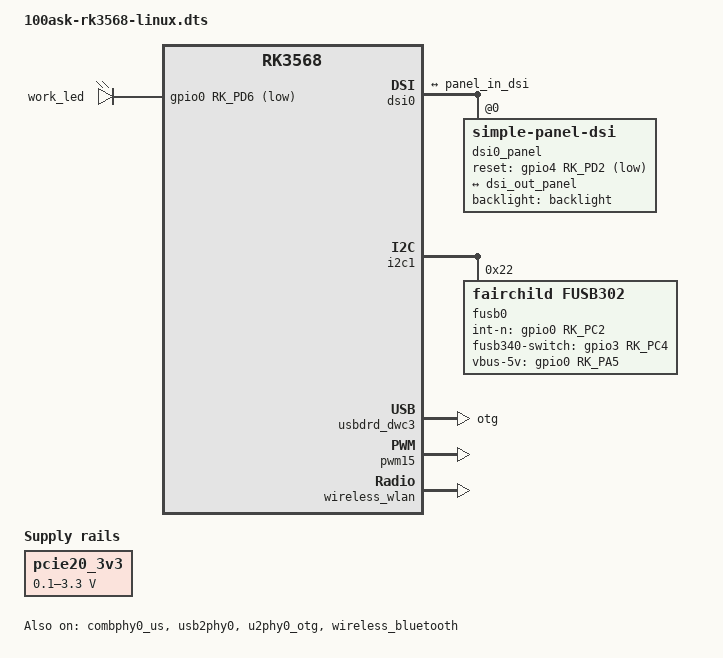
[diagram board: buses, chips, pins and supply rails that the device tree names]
// SPDX-License-Identifier: (GPL-2.0+ OR MIT)
/*
 * Copyright (c) 2020 Rockchip Electronics Co., Ltd.
 *
 */

#include "rk3568-evb1-ddr4-v10.dtsi"
#include "rk3568-linux.dtsi"
#include <dt-bindings/display/rockchip_vop.h>

/ {
	fiq-debugger {
                compatible = "rockchip,fiq-debugger";
                rockchip,serial-id = <2>;
                rockchip,wake-irq = <0>;
                /* If enable uart uses irq instead of fiq */
                rockchip,irq-mode-enable = <1>;
                rockchip,baudrate = <115200>;  /* Only 115200 and 1500000 */
                interrupts = <GIC_SPI 252 IRQ_TYPE_LEVEL_LOW>;
                pinctrl-names = "default";
                pinctrl-0 = <&uart2m0_xfer>;
                status = "okay";
        };

	pcie20_3v3: gpio-regulator {
                compatible = "regulator-gpio";
                regulator-name = "pcie20_3v3";
                regulator-min-microvolt = <100000>;
                regulator-max-microvolt = <3300000>;
                gpios = <&gpio3 RK_PC2 GPIO_ACTIVE_HIGH>;
                gpios-states = <0x1>;
                states = <100000 0x0 3300000 0x1>;
        };

	leds: leds {
                compatible = "gpio-leds";
                work_led: work {
                        gpios = <&gpio0 RK_PD6 GPIO_ACTIVE_LOW>;
                        linux,default-trigger = "heartbeat";
			status = "okay";
                };
        };
};

&pinctrl {
	fusb30x {
		fusb0_int: fusb0-int {
			rockchip,pins = <0 RK_PC2 RK_FUNC_GPIO &pcfg_pull_up>;
		};
	};
};

/*mipi*/
&dsi0 {
	status = "okay";
	rockchip,lane-rate = <480>;
	//rockchip,lane-rate = <660>;
	//rockchip,lane-rate = <1000>;

	dsi0_panel: panel@0 {
		compatible = "simple-panel-dsi";
		reg = <0>;
		backlight = <&backlight>;
		//power-supply = <&vcc18_lcd_n>;

		prepare-delay-ms = <10>;
		reset-delay-ms = <40>;
		init-delay-ms = <40>;
		enable-delay-ms = <40>;
		disable-delay-ms = <50>;
		unprepare-delay-ms = <40>;

        	reset-gpios = <&gpio4 RK_PD2 GPIO_ACTIVE_LOW>;
        	pinctrl-names = "default";
        	//pinctrl-0 = <&lcd_rst_gpio>;

		width-mm = <57>;
		height-mm = <97>;

		dsi,flags = <(MIPI_DSI_MODE_VIDEO | MIPI_DSI_MODE_VIDEO_BURST |
			      MIPI_DSI_MODE_VIDEO_SYNC_PULSE)>;

		dsi,format = <MIPI_DSI_FMT_RGB888>;
		dsi,lanes = <2>;

		panel-init-sequence = [
				39 00 06 FF FF 98 06 04 01
				15 00 02 08 10
				15 00 02 21 01
				15 00 02 30 02
				15 00 02 31 02
				15 00 02 60 07
				15 00 02 61 06
				15 00 02 62 06
				15 00 02 63 04
				15 00 02 40 14
				15 00 02 41 22
				15 00 02 42 02
				15 00 02 43 09
				15 00 02 44 86
				15 00 02 50 78
				15 00 02 51 78
				15 00 02 52 00
				15 00 02 53 3A
				15 00 02 A0 00
				15 00 02 A1 19
				15 00 02 A2 20
				15 00 02 A3 0E
				15 00 02 A4 06
				15 00 02 A5 09
				15 00 02 A6 06
				15 00 02 A7 05
				15 00 02 A8 07
				15 00 02 A9 0B
				15 00 02 AA 12
				15 00 02 AB 07
				15 00 02 AC 0E
				15 00 02 AD 15
				15 00 02 AE 0C
				15 00 02 AF 00
				15 00 02 C0 00
				15 00 02 C1 19
				15 00 02 C2 20
				15 00 02 C3 0E
				15 00 02 C4 06
				15 00 02 C5 09
				15 00 02 C6 06
				15 00 02 C7 04
				15 00 02 C8 07
				15 00 02 C9 0B
				15 00 02 CA 12
				15 00 02 CB 07
				15 00 02 CC 0E
				15 00 02 CD 15
				15 00 02 CE 0C
				15 00 02 CF 00
				39 00 06 FF FF 98 06 04 07
				15 0a 02 17 32
				15 0a 02 06 13
				15 0a 02 02 77
				15 0a 02 18 1D
				15 0a 02 E1 79
				39 00 06 FF FF 98 06 04 06
				15 00 02 00 20
				15 00 02 01 04
				15 00 02 02 00
				15 00 02 03 00
				15 00 02 04 01
				15 00 02 05 01
				15 00 02 06 88
				15 00 02 07 04
				15 00 02 08 01
				15 00 02 09 90
				15 00 02 0A 03
				15 00 02 0B 01
				15 00 02 0C 01
				15 00 02 0D 01
				15 00 02 0E 00
				15 00 02 0F 00
				15 00 02 10 55
				15 00 02 11 53
				15 00 02 12 01
				15 00 02 13 0D
				15 00 02 14 0D
				15 00 02 15 43
				15 00 02 16 0B
				15 00 02 17 00
				15 00 02 18 00
				15 00 02 19 00
				15 00 02 1A 00
				15 00 02 1B 00
				15 00 02 1C 00
				15 00 02 1D 00
				15 00 02 20 01
				15 00 02 21 23
				15 00 02 22 45
				15 00 02 23 67
				15 00 02 24 01
				15 00 02 25 23
				15 00 02 26 45
				15 00 02 27 67
				15 00 02 30 02
				15 00 02 31 22
				15 00 02 32 11
				15 00 02 33 AA
				15 00 02 34 BB
				15 00 02 35 66
				15 00 02 36 00
				15 00 02 37 22
				15 00 02 38 22
				15 00 02 39 22
				15 00 02 3A 22
				15 00 02 3B 22
				15 00 02 3C 22
				15 00 02 3D 22
				15 00 02 3E 22
				15 00 02 3F 22
				15 00 02 40 22
				15 00 02 53 10
				39 00 06 FF FF 98 06 04 07
				15 00 02 17 22
				15 00 02 18 1D
				15 00 02 06 13
				15 00 02 02 77
				15 00 02 E1 79
				39 00 06 FF FF 98 06 04 00
				15 00 02 3A 77
				15 00 02 36 00
				15 ff 02 11 00
				15 ff 02 29 00
				];

		panel-exit-sequence = [
			05 00 01 28
				05 78 01 10
		];

		display-timings {
			native-mode = <&timing0>;

			timing0: timing0 {
				clock-frequency = <25600000>;
				hactive = <480>;
				vactive = <800>;
				hfront-porch = <10>;
				hsync-len = <5>;
				hback-porch = <20>;
				vfront-porch = <5>;
				vsync-len = <5>;
				vback-porch = <20>;
				hsync-active = <0>;
				vsync-active = <0>;
				de-active = <0>;
				pixelclk-active = <0>;
			};
		};

		ports {
			#address-cells = <1>;
			#size-cells = <0>;

			port@0 {
				reg = <0>;
				panel_in_dsi: endpoint {
					remote-endpoint = <&dsi_out_panel>;
				};
			};
		};
	};

	ports {
		#address-cells = <1>;
		#size-cells = <0>;

		port@1 {
			reg = <1>;
			dsi_out_panel: endpoint {
				remote-endpoint = <&panel_in_dsi>;
			};
		};
	};
};

/*touchscreen*/
&i2c1 {
	status = "okay";

	ctp@38 {
		compatible = "focaltech,fts";
		reg = <0x38>;
		status = "disabled";
		interrupt-parent = <&gpio3>;
		interrupts = <RK_PA2 IRQ_TYPE_LEVEL_LOW>;
		focaltech,reset-gpio = <&gpio3 RK_PA0 GPIO_ACTIVE_HIGH>;
		focaltech,irq-gpio = <&gpio3 RK_PA2 IRQ_TYPE_LEVEL_LOW>;
		focaltech,max-touch-number = <5>;
		focaltech,display-coords = <0 0 480 800>;
		power-supply = <&vcc3v3_lcd0_n>;
		//focaltech,reg_vdd = <&vcc3v3_sys>;
		//focaltech,reg_avdd = <&vcc3v3_sys>;
		//vcc-supply = <&vcc3v3_sys>;
		//vcc_i2c-supply = <&vcc3v3_lcd0_n>;
	};

	fusb0: fusb30x@22 {
		compatible = "fairchild,fusb302";
		reg = <0x22>;
		pinctrl-names = "default";
		pinctrl-0 = <&fusb0_int>;
		int-n-gpios = <&gpio0 RK_PC2 GPIO_ACTIVE_HIGH>;
		fusb340-switch-gpios = <&gpio3 RK_PC4 GPIO_ACTIVE_HIGH>;
		vbus-5v-gpios = <&gpio0 RK_PA5 GPIO_ACTIVE_HIGH>;
		status = "okay";
	};

};

&usbdrd_dwc3 {
	dr_mode = "otg";
	extcon = <&fusb0>;
	status = "okay";
};
  
&combphy0_us {
	status = "okay";
	extcon = <&fusb0>;
};

&usb2phy0 {
        status = "okay";
        extcon = <&fusb0>;
};

&u2phy0_otg {
        /delete-property/ vbus-supply;
        status = "okay";
};


/*pcie2.0*/

&pcie2x1 {
	reset-gpios = <&gpio3 RK_PC1 GPIO_ACTIVE_HIGH>;
	vpcie3v3-supply = <&pcie20_3v3>;
	pinctrl-0 = <&pcie20m1_pins>; 
	status = "disabled";
};

&pcie30phy {
        status = "disabled";
};

&pcie3x2 {
        reset-gpios = <&gpio2 RK_PD6 GPIO_ACTIVE_HIGH>;
        vpcie3v3-supply = <&vcc3v3_pcie>;
	pinctrl-0 = <&pcie30x2m1_pins>; 
        status = "disabled";
};


&sata2 {
        status = "disabled";
};


/************* IR ***************/

&pwm15 {
	status = "okay";

	compatible = "rockchip,remotectl-pwm";
	remote_pwm_id = <3>;
	handle_cpu_id = <1>;
	remote_support_psci = <0>;
	pinctrl-names = "default";
	pinctrl-0 = <&pwm15m1_pins>;

	ir_key1 {
		rockchip,usercode = <0x4040>;
		rockchip,key_table =
			<0xf2	KEY_REPLY>,
			<0xba	KEY_BACK>,
			<0xf4	KEY_UP>,
			<0xf1	KEY_DOWN>,
			<0xef	KEY_LEFT>,
			<0xee	KEY_RIGHT>,
			<0xbd	KEY_HOME>,
			<0xea	KEY_VOLUMEUP>,
			<0xe3	KEY_VOLUMEDOWN>,
			<0xe2	KEY_SEARCH>,
			<0xb2	KEY_POWER>,
			<0xbc	KEY_MUTE>,
			<0xec	KEY_MENU>,
			<0xbf	0x190>,
			<0xe0	0x191>,
			<0xe1	0x192>,
			<0xe9	183>,
			<0xe6	248>,
			<0xe8	185>,
			<0xe7	186>,
			<0xf0	388>,
			<0xbe	0x175>;
	};

	ir_key2 {
		rockchip,usercode = <0xff00>;
		rockchip,key_table =
			<0xeb   KEY_POWER>,
			<0xec   KEY_MENU>,
			<0xfe   KEY_BACK>,
			<0xb7   KEY_HOME>,
			<0xa3   KEY_WWW>,
			<0xf4   KEY_VOLUMEUP>,
			<0xa7   KEY_VOLUMEDOWN>,
			<0xf8   KEY_REPLY>,
			<0xfc   KEY_UP>,
			<0xfd   KEY_DOWN>,
			<0xf1   KEY_LEFT>,
			<0xe5   KEY_RIGHT>;
	};

	ir_key3 {
		rockchip,usercode = <0x1dcc>;
		rockchip,key_table =
			<0xee	KEY_REPLY>,
			<0xf0	KEY_BACK>,
			<0xf8	KEY_UP>,
			<0xbb	KEY_DOWN>,
			<0xef	KEY_LEFT>,
			<0xed	KEY_RIGHT>,
			<0xfc	KEY_HOME>,
			<0xf1	KEY_VOLUMEUP>,
			<0xfd	KEY_VOLUMEDOWN>,
			<0xb7	KEY_SEARCH>,
			<0xff	KEY_POWER>,
			<0xf3	KEY_MUTE>,
			<0xbf	KEY_MENU>,
			<0xf9	0x191>,
			<0xf5	0x192>,
			<0xb3	388>,
			<0xbe	KEY_1>,
			<0xba	KEY_2>,
			<0xb2	KEY_3>,
			<0xbd	KEY_4>,
			<0xf9	KEY_5>,
			<0xb1	KEY_6>,
			<0xfc	KEY_7>,
			<0xf8	KEY_8>,
			<0xb0	KEY_9>,
			<0xb6	KEY_0>,
			<0xb5	KEY_BACKSPACE>;
	};
};

/********************************/

&pwm7 {
	status = "disabled";
};

&spdif_8ch {
	status = "disabled";
};

&gt1x {
	status = "disabled";
};

&mxc6655xa {
	status = "disabled";
};

&wireless_wlan {
        wifi_chip_type = "ap6256";
        status = "okay";
};

&wireless_bluetooth {
        compatible = "bluetooth-platdata";
        clocks = <&rk809 1>;
        clock-names = "ext_clock";
        //wifi-bt-power-toggle;
        uart_rts_gpios = <&gpio2 RK_PB1 GPIO_ACTIVE_LOW>;
        pinctrl-names = "default", "rts_gpio";
        pinctrl-0 = <&uart8m0_rtsn>;
        pinctrl-1 = <&uart8_gpios>;
        BT,reset_gpio    = <&gpio4 RK_PC4 GPIO_ACTIVE_HIGH>;
        BT,wake_gpio     = <&gpio0 RK_PD5 GPIO_ACTIVE_HIGH>;
        BT,wake_host_irq = <&gpio0 RK_PD4 GPIO_ACTIVE_HIGH>;
        status = "okay";
};

&vcc3v3_vga {
	status = "disabled";
};

&vp0 {
	cursor-win-id = <ROCKCHIP_VOP2_CLUSTER0>;
};

&vp1 {
	cursor-win-id = <ROCKCHIP_VOP2_CLUSTER1>;
};

&edp {
        status = "disabled";
};

&hdmi_sound {
	status = "disabled";
};

/***************************************************/
&dmc {
        status = "disabled";
};

&dfi{
        status = "disabled";
};

/***************************************************/
